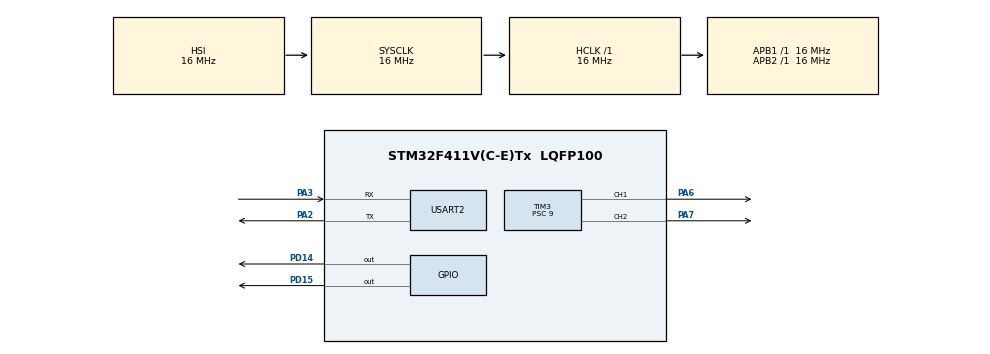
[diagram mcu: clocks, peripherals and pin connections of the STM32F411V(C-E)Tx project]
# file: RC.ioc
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Dma.Request0=USART2_RX
Dma.Request1=USART2_TX
Dma.USART2_RX.0.Direction=DMA_PERIPH_TO_MEMORY
Dma.USART2_RX.0.FIFOMode=DMA_FIFOMODE_DISABLE
Dma.USART2_RX.0.Instance=DMA1_Stream5
Dma.USART2_RX.0.MemDataAlignment=DMA_MDATAALIGN_BYTE
Dma.USART2_RX.0.MemInc=DMA_MINC_ENABLE
Dma.USART2_RX.0.Mode=DMA_CIRCULAR
Dma.USART2_RX.0.PeriphDataAlignment=DMA_PDATAALIGN_BYTE
Dma.USART2_RX.0.PeriphInc=DMA_PINC_DISABLE
Dma.USART2_RX.0.Priority=DMA_PRIORITY_VERY_HIGH
Dma.USART2_TX.1.Direction=DMA_MEMORY_TO_PERIPH
Dma.USART2_TX.1.FIFOMode=DMA_FIFOMODE_DISABLE
Dma.USART2_TX.1.Instance=DMA1_Stream6
Dma.USART2_TX.1.MemDataAlignment=DMA_MDATAALIGN_BYTE
Dma.USART2_TX.1.MemInc=DMA_MINC_ENABLE
Dma.USART2_TX.1.Mode=DMA_NORMAL
Dma.USART2_TX.1.PeriphDataAlignment=DMA_PDATAALIGN_BYTE
Dma.USART2_TX.1.PeriphInc=DMA_PINC_DISABLE
Dma.USART2_TX.1.Priority=DMA_PRIORITY_VERY_HIGH
FREERTOS.Tasks01=defaultTask,24,3000,StartDefaultTask,Default,NULL,Dynamic,NULL,NULL
Mcu.Family=STM32F4
Mcu.Name=STM32F411V(C-E)Tx
Mcu.Package=LQFP100
NVIC.DMA1_Stream5_IRQn=true\:5\:0\:false\:false\:true\:true\:false\:true\:true
NVIC.DMA1_Stream6_IRQn=true\:5\:0\:false\:false\:true\:true\:false\:true\:true
NVIC.PriorityGroup=NVIC_PRIORITYGROUP_4
NVIC.USART2_IRQn=true\:5\:0\:false\:false\:true\:true\:true\:true\:true
PA13.Mode=Serial_Wire
PA13.Signal=SYS_JTMS-SWDIO
PA14.Mode=Serial_Wire
PA14.Signal=SYS_JTCK-SWCLK
PA2.Mode=Asynchronous
PA2.Signal=USART2_TX
PA3.Mode=Asynchronous
PA3.Signal=USART2_RX
PA6.Signal=S_TIM3_CH1
PA7.Signal=S_TIM3_CH2
PC14-OSC32_IN.Mode=LSE-External-Oscillator
PC14-OSC32_IN.Signal=RCC_OSC32_IN
PC15-OSC32_OUT.Mode=LSE-External-Oscillator
PC15-OSC32_OUT.Signal=RCC_OSC32_OUT
PD14.Signal=GPIO_Output
PD15.Signal=GPIO_Output
PH0\ -\ OSC_IN.Mode=HSE-External-Oscillator
PH0\ -\ OSC_IN.Signal=RCC_OSC_IN
PH1\ -\ OSC_OUT.Mode=HSE-External-Oscillator
PH1\ -\ OSC_OUT.Signal=RCC_OSC_OUT
ProjectManager.HeapSize=0x200
ProjectManager.StackSize=0x400
ProjectManager.TargetToolchain=STM32CubeIDE
RCC.AHBFreq_Value=16000000
RCC.APB1Freq_Value=16000000
RCC.APB2Freq_Value=16000000
RCC.CortexFreq_Value=16000000
RCC.HSE_VALUE=25000000
RCC.HSI_VALUE=16000000
RCC.SYSCLKFreq_VALUE=16000000
RCC.VCOOutputFreq_Value=192000000
SH.S_TIM3_CH1.0=TIM3_CH1,PWM Generation1 CH1
SH.S_TIM3_CH2.0=TIM3_CH2,PWM Generation2 CH2
TIM3.Channel-PWM\ Generation1\ CH1=TIM_CHANNEL_1
TIM3.Channel-PWM\ Generation2\ CH2=TIM_CHANNEL_2
TIM3.Period=999
TIM3.Prescaler=9
USART2.VirtualMode=VM_ASYNC
VP_FREERTOS_VS_CMSIS_V2.Mode=CMSIS_V2
VP_TIM3_VS_ClockSourceINT.Mode=Internal
board=custom

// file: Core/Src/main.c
/* USER CODE BEGIN Header */
/**
  ******************************************************************************
  * @file           : main.c
  * @brief          : Main program body
  ******************************************************************************
  * @attention
  *
  * Copyright (c) 2025 STMicroelectronics.
  * All rights reserved.
  *
  * This software is licensed under terms that can be found in the LICENSE file
  * in the root directory of this software component.
  * If no LICENSE file comes with this software, it is provided AS-IS.
  *
  ******************************************************************************
  */
/* USER CODE END Header */
#include "main.h"
#include "cmsis_os.h"

/* USER CODE BEGIN Includes */
#include "cmsis_os2.h"
#include <rcl/rcl.h>
#include <rcl/error_handling.h>
#include <rclc/rclc.h>
#include <rclc/executor.h>
#include <uxr/client/transport.h>
#include <rmw_microxrcedds_c/config.h>
#include <rmw_microros/rmw_microros.h>

#include <std_msgs/msg/int32.h>
#include <geometry_msgs/msg/twist.h>
#include <stdio.h>
#include <string.h>

/* USER CODE END Includes */

TIM_HandleTypeDef htim3;

UART_HandleTypeDef huart2;
DMA_HandleTypeDef hdma_usart2_rx;
DMA_HandleTypeDef hdma_usart2_tx;

/* Definitions for defaultTask */
osThreadId_t defaultTaskHandle;
const osThreadAttr_t defaultTask_attributes = {
  .name = "defaultTask",
  .stack_size = 3000 * 4,
  .priority = (osPriority_t) osPriorityNormal,
};
/* USER CODE BEGIN PV */
double LeftWheelVelocity;
double RightWheelVelocity;

double LeftMotorSpeed;
double RightMotorSpeed;

const double Length = 0.36;    //distance between wheel and center of bot
const double WheelRadius = 0.12732;
/* USER CODE END PV */

void SystemClock_Config(void);
static void MX_GPIO_Init(void);
static void MX_DMA_Init(void);
static void MX_USART2_UART_Init(void);
static void MX_TIM3_Init(void);
void StartDefaultTask(void *argument);

/* USER CODE BEGIN 0 */
void subscription_cmd_vel_callback(const void * msgin)
{
	geometry_msgs__msg__Twist * msg = (geometry_msgs__msg__Twist *)msgin;

	LeftWheelVelocity = msg->linear.x - msg->angular.z*Length;
		RightWheelVelocity = msg->linear.x + msg->angular.z*Length;

//		LeftMotorSpeed = (int)(LeftWheelVelocity/WheelRadius) * 60/6.2831;            //w of motor in rpm
//		RightMotorSpeed = (int)(RightWheelVelocity/WheelRadius) * 60/6.2831;
		LeftMotorSpeed = (int)((LeftWheelVelocity) * 1000);            //w of motor in rpm
		RightMotorSpeed = (int)((RightWheelVelocity) * 1000);

		if (LeftMotorSpeed>=0 && LeftMotorSpeed<=1000 && RightMotorSpeed>=0 && RightMotorSpeed<=1000)	//front
		{
	 		TIM3->CCR1 = LeftMotorSpeed;
	//		TIM3->CCR2 = 0;
			TIM3->CCR2 = RightMotorSpeed;
	//		TIM3->CCR4 = 0;
			HAL_GPIO_WritePin(GPIOD, GPIO_PIN_15, 1);
			HAL_GPIO_WritePin(GPIOD, GPIO_PIN_14, 0);
	//		HAL_GPIO_WritePin(GPIOD, GPIO_PIN_15, 1);
	//		HAL_GPIO_WritePin(GPIOD, GPIO_PIN_14, 0);
	//		HAL_GPIO_WritePin(GPIOD, GPIO_PIN_13, 0);
	//		HAL_GPIO_WritePin(GPIOD, GPIO_PIN_12, 0);
		}
		else if (LeftMotorSpeed<=0 && LeftMotorSpeed>=-1000 && RightMotorSpeed<=0 && RightMotorSpeed>=-1000)	//back
		{
	//		TIM3->CCR1 = 0;
	//		TIM3->CCR2 = -LeftMotorSpeed;
	////		TIM3->CCR3 = 0;
	//		TIM3->CCR4 = -RightMotorSpeed;
	//		HAL_GPIO_WritePin(GPIOD, GPIO_PIN_15, 0);
	//		HAL_GPIO_WritePin(GPIOD, GPIO_PIN_14, 1);
	//		HAL_GPIO_WritePin(GPIOD, GPIO_PIN_13, 0);
	//		HAL_GPIO_WritePin(GPIOD, GPIO_PIN_12, 0);
			TIM3->CCR1 = -LeftMotorSpeed;
	//		TIM3->CCR2 = 0;
			TIM3->CCR2 = -RightMotorSpeed;
	//		TIM3->CCR4 = 0;
			HAL_GPIO_WritePin(GPIOD, GPIO_PIN_15, 0);
			HAL_GPIO_WritePin(GPIOD, GPIO_PIN_14, 1);
		}
		else if (LeftMotorSpeed<=0 && LeftMotorSpeed>=-1000 && RightMotorSpeed>=0 && RightMotorSpeed<=1000)		//left
		{
			TIM3->CCR1 = -LeftMotorSpeed;
	//		TIM3->CCR2 = 0;
			TIM3->CCR2 = RightMotorSpeed;
	//		TIM3->CCR4 = 0;
			HAL_GPIO_WritePin(GPIOD, GPIO_PIN_15, 0);
			HAL_GPIO_WritePin(GPIOD, GPIO_PIN_14, 0);
		}
		else if (LeftMotorSpeed>=0 && LeftMotorSpeed<=1000 && RightMotorSpeed<=0 && RightMotorSpeed>=-1000)		//right
		{
			TIM3->CCR1 = LeftMotorSpeed;
			TIM3->CCR2 = -RightMotorSpeed;
			HAL_GPIO_WritePin(GPIOD, GPIO_PIN_15, 1);
			HAL_GPIO_WritePin(GPIOD, GPIO_PIN_14, 1);
		}
		else
		{
			TIM3->CCR1 = 0;
			TIM3->CCR2 = 0;

		}

}
/* USER CODE END 0 */

int main(void)
{

  /* MCU Configuration--------------------------------------------------------*/

  /* Reset of all peripherals, Initializes the Flash interface and the Systick. */
  HAL_Init();

  /* Configure the system clock */
  SystemClock_Config();

  /* Initialize all configured peripherals */
  MX_GPIO_Init();
  MX_DMA_Init();
  MX_USART2_UART_Init();
  MX_TIM3_Init();
  /* USER CODE BEGIN 2 */
  HAL_TIM_PWM_Start(&htim3,TIM_CHANNEL_1);
  HAL_TIM_PWM_Start(&htim3,TIM_CHANNEL_2);
  /* USER CODE END 2 */

  /* Init scheduler */
  osKernelInitialize();

  /* Create the thread(s) */
  /* creation of defaultTask */
  defaultTaskHandle = osThreadNew(StartDefaultTask, NULL, &defaultTask_attributes);

  /* Start scheduler */
  osKernelStart();

  /* We should never get here as control is now taken by the scheduler */

  /* Infinite loop */
  while (1)
  {

  }
}

void SystemClock_Config(void)
{
  RCC_OscInitTypeDef RCC_OscInitStruct = {0};
  RCC_ClkInitTypeDef RCC_ClkInitStruct = {0};

  /** Configure the main internal regulator output voltage
  */
  __HAL_RCC_PWR_CLK_ENABLE();
  __HAL_PWR_VOLTAGESCALING_CONFIG(PWR_REGULATOR_VOLTAGE_SCALE1);

  /** Initializes the RCC Oscillators according to the specified parameters
  * in the RCC_OscInitTypeDef structure.
  */
  RCC_OscInitStruct.OscillatorType = RCC_OSCILLATORTYPE_HSI;
  RCC_OscInitStruct.HSIState = RCC_HSI_ON;
  RCC_OscInitStruct.HSICalibrationValue = RCC_HSICALIBRATION_DEFAULT;
  RCC_OscInitStruct.PLL.PLLState = RCC_PLL_NONE;
  if (HAL_RCC_OscConfig(&RCC_OscInitStruct) != HAL_OK)
  {
    Error_Handler();
  }

  /** Initializes the CPU, AHB and APB buses clocks
  */
  RCC_ClkInitStruct.ClockType = RCC_CLOCKTYPE_HCLK|RCC_CLOCKTYPE_SYSCLK
                              |RCC_CLOCKTYPE_PCLK1|RCC_CLOCKTYPE_PCLK2;
  RCC_ClkInitStruct.SYSCLKSource = RCC_SYSCLKSOURCE_HSI;
  RCC_ClkInitStruct.AHBCLKDivider = RCC_SYSCLK_DIV1;
  RCC_ClkInitStruct.APB1CLKDivider = RCC_HCLK_DIV1;
  RCC_ClkInitStruct.APB2CLKDivider = RCC_HCLK_DIV1;

  if (HAL_RCC_ClockConfig(&RCC_ClkInitStruct, FLASH_LATENCY_0) != HAL_OK)
  {
    Error_Handler();
  }
}

static void MX_TIM3_Init(void)
{

  TIM_ClockConfigTypeDef sClockSourceConfig = {0};
  TIM_MasterConfigTypeDef sMasterConfig = {0};
  TIM_OC_InitTypeDef sConfigOC = {0};

  htim3.Instance = TIM3;
  htim3.Init.Prescaler = 9;
  htim3.Init.CounterMode = TIM_COUNTERMODE_UP;
  htim3.Init.Period = 999;
  htim3.Init.ClockDivision = TIM_CLOCKDIVISION_DIV1;
  htim3.Init.AutoReloadPreload = TIM_AUTORELOAD_PRELOAD_DISABLE;
  if (HAL_TIM_Base_Init(&htim3) != HAL_OK)
  {
    Error_Handler();
  }
  sClockSourceConfig.ClockSource = TIM_CLOCKSOURCE_INTERNAL;
  if (HAL_TIM_ConfigClockSource(&htim3, &sClockSourceConfig) != HAL_OK)
  {
    Error_Handler();
  }
  if (HAL_TIM_PWM_Init(&htim3) != HAL_OK)
  {
    Error_Handler();
  }
  sMasterConfig.MasterOutputTrigger = TIM_TRGO_RESET;
  sMasterConfig.MasterSlaveMode = TIM_MASTERSLAVEMODE_DISABLE;
  if (HAL_TIMEx_MasterConfigSynchronization(&htim3, &sMasterConfig) != HAL_OK)
  {
    Error_Handler();
  }
  sConfigOC.OCMode = TIM_OCMODE_PWM1;
  sConfigOC.Pulse = 0;
  sConfigOC.OCPolarity = TIM_OCPOLARITY_HIGH;
  sConfigOC.OCFastMode = TIM_OCFAST_DISABLE;
  if (HAL_TIM_PWM_ConfigChannel(&htim3, &sConfigOC, TIM_CHANNEL_1) != HAL_OK)
  {
    Error_Handler();
  }
  if (HAL_TIM_PWM_ConfigChannel(&htim3, &sConfigOC, TIM_CHANNEL_2) != HAL_OK)
  {
    Error_Handler();
  }
  HAL_TIM_MspPostInit(&htim3);

}

static void MX_USART2_UART_Init(void)
{

  huart2.Instance = USART2;
  huart2.Init.BaudRate = 115200;
  huart2.Init.WordLength = UART_WORDLENGTH_8B;
  huart2.Init.StopBits = UART_STOPBITS_1;
  huart2.Init.Parity = UART_PARITY_NONE;
  huart2.Init.Mode = UART_MODE_TX_RX;
  huart2.Init.HwFlowCtl = UART_HWCONTROL_NONE;
  huart2.Init.OverSampling = UART_OVERSAMPLING_16;
  if (HAL_UART_Init(&huart2) != HAL_OK)
  {
    Error_Handler();
  }

}

static void MX_DMA_Init(void)
{

  /* DMA controller clock enable */
  __HAL_RCC_DMA1_CLK_ENABLE();

  /* DMA interrupt init */
  /* DMA1_Stream5_IRQn interrupt configuration */
  HAL_NVIC_SetPriority(DMA1_Stream5_IRQn, 5, 0);
  HAL_NVIC_EnableIRQ(DMA1_Stream5_IRQn);
  /* DMA1_Stream6_IRQn interrupt configuration */
  HAL_NVIC_SetPriority(DMA1_Stream6_IRQn, 5, 0);
  HAL_NVIC_EnableIRQ(DMA1_Stream6_IRQn);

}

static void MX_GPIO_Init(void)
{
  GPIO_InitTypeDef GPIO_InitStruct = {0};

  /* GPIO Ports Clock Enable */
  __HAL_RCC_GPIOC_CLK_ENABLE();
  __HAL_RCC_GPIOH_CLK_ENABLE();
  __HAL_RCC_GPIOA_CLK_ENABLE();
  __HAL_RCC_GPIOD_CLK_ENABLE();

  /*Configure GPIO pin Output Level */
  HAL_GPIO_WritePin(GPIOD, GPIO_PIN_14|GPIO_PIN_15, GPIO_PIN_RESET);

  /*Configure GPIO pins : PD14 PD15 */
  GPIO_InitStruct.Pin = GPIO_PIN_14|GPIO_PIN_15;
  GPIO_InitStruct.Mode = GPIO_MODE_OUTPUT_PP;
  GPIO_InitStruct.Pull = GPIO_NOPULL;
  GPIO_InitStruct.Speed = GPIO_SPEED_FREQ_LOW;
  HAL_GPIO_Init(GPIOD, &GPIO_InitStruct);

}

/* USER CODE BEGIN 4 */
bool cubemx_transport_open(struct uxrCustomTransport * transport);
bool cubemx_transport_close(struct uxrCustomTransport * transport);
size_t cubemx_transport_write(struct uxrCustomTransport* transport, const uint8_t * buf, size_t len, uint8_t * err);
size_t cubemx_transport_read(struct uxrCustomTransport* transport, uint8_t* buf, size_t len, int timeout, uint8_t* err);

void * microros_allocate(size_t size, void * state);
void microros_deallocate(void * pointer, void * state);
void * microros_reallocate(void * pointer, size_t size, void * state);
void * microros_zero_allocate(size_t number_of_elements, size_t size_of_element, void * state);
/* USER CODE END 4 */

void StartDefaultTask(void *argument)
{
  /* USER CODE BEGIN 5 */

	   // micro-ROS configuration

	   rmw_uros_set_custom_transport(
	     true,
	     (void *) &huart2,
	     cubemx_transport_open,
	     cubemx_transport_close,
	     cubemx_transport_write,
	     cubemx_transport_read);

	   rcl_allocator_t freeRTOS_allocator = rcutils_get_zero_initialized_allocator();
	   freeRTOS_allocator.allocate = microros_allocate;
	   freeRTOS_allocator.deallocate = microros_deallocate;
	   freeRTOS_allocator.reallocate = microros_reallocate;
	   freeRTOS_allocator.zero_allocate =  microros_zero_allocate;

	   if (!rcutils_set_default_allocator(&freeRTOS_allocator)) {
	       printf("Error on default allocators (line %d)\n", __LINE__);
	   }

	   // micro-ROS app

	   rcl_publisher_t publisher;
	   rcl_subscription_t subscriber_cmd_vel;
	   geometry_msgs__msg__Twist sub_cmd_vel_msg;
	   std_msgs__msg__Int32 msg;
	   rclc_support_t support;
	   rcl_allocator_t allocator;
	   rcl_node_t node;

	   allocator = rcl_get_default_allocator();

	   //create init_options
	   rclc_support_init(&support, 0, NULL, &allocator);

	   // create node
	   rclc_node_init_default(&node, "cubemx_node", "", &support);

	   // create publisher
	   rclc_publisher_init_default(
	     &publisher,
	     &node,
	     ROSIDL_GET_MSG_TYPE_SUPPORT(std_msgs, msg, Int32),
	     "cubemx_publisher");

	   rclc_subscription_init_default(
	   	  	     &subscriber_cmd_vel,
	   	  	     &node,
	   	  	     ROSIDL_GET_MSG_TYPE_SUPPORT(geometry_msgs, msg, Twist),
	   	  	     "cmd_vel");

	   rclc_executor_t executor = rclc_executor_get_zero_initialized_executor();
	   	  	rclc_executor_init(&executor, &support.context, 2, &allocator);
	   	  	rclc_executor_add_subscription(&executor, &subscriber_cmd_vel, &sub_cmd_vel_msg, &subscription_cmd_vel_callback, ON_NEW_DATA);

	   msg.data = 0;

	   for(;;)
	   {
	     rcl_ret_t ret = rcl_publish(&publisher, &msg, NULL);
	     rclc_executor_spin_some(&executor, 1000);
	     if (ret != RCL_RET_OK)
	     {
	       printf("Error publishing (line %d)\n", __LINE__);
	     }

	     msg.data++;
	     osDelay(10);
	   }
  /* USER CODE END 5 */
}

void Error_Handler(void)
{
  __disable_irq();
  while (1)
  {
  }
}
